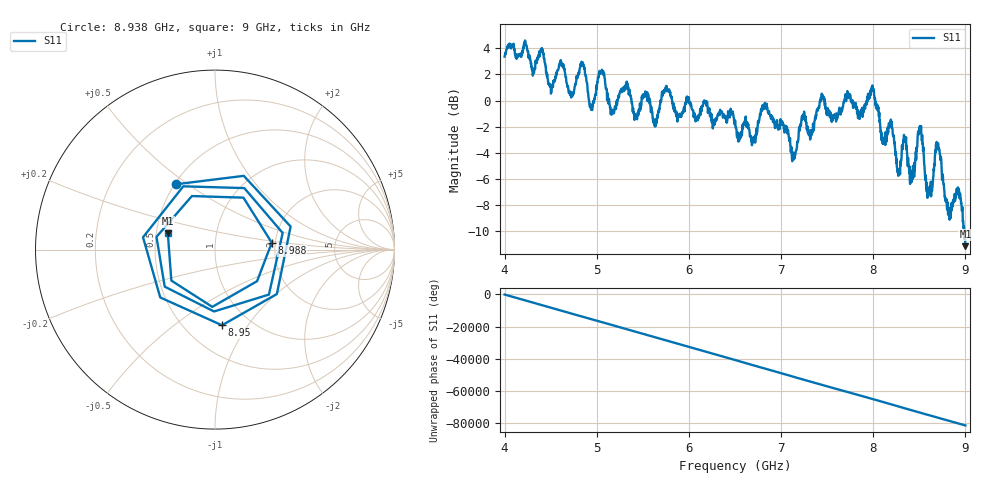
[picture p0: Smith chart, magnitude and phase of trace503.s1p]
! Created with skrf 1.8.0 (http://scikit-rf.org).
# Hz S RI R 50.0
!freq ReS11 ImS11
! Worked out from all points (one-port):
!   1601 points, 4 GHz to 9 GHz, reference 50 ohm
!   lowest |S11| = -11.1 dB at 9 GHz (marker M1), VSWR 1.77, Z = 28.8 + j5.61 ohm
!   |S11| at or under -10 dB: 8.98826 GHz to 8.993646 GHz (5.386 MHz wide, 0.0599 % of centre); 8.994443 GHz to end of sweep
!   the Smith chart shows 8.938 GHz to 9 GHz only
!   S11 on the Smith chart (normalised r, x): 8.938 GHz: 0.51, +0.45; 8.95 GHz: 0.75, -0.77; 8.988 GHz: 1.92, +0.16; 9 GHz: 0.58, +0.11
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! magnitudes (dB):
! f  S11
! 4 GHz  3.4
! 4.5 GHz  1.2
! 4.625 GHz  2.8
! 4.722 GHz  0.2
! 4.847 GHz  2.8
! 4.941 GHz  -0.6
! 5.047 GHz  2.1
! 5.162 GHz  -1.1
! 5.25 GHz  0.6
! 5.875 GHz  -1.6
! 6.5 GHz  -1.5
! 6.703 GHz  -3.1
! 6.828 GHz  -0.4
! 7.125 GHz  -4.2
! 7.444 GHz  0.4
! 7.75 GHz  0.5
! 7.991 GHz  1.2
! 8.275 GHz  -5.5
! 8.375 GHz  -5.0
! 8.425 GHz  -6.0
! 8.506 GHz  -2.0
! 8.597 GHz  -7.1
! 8.7 GHz  -3.3
! 8.816 GHz  -8.3
! 8.938 GHz  -7.5
! 8.95 GHz  -7.5
! 8.988 GHz  -9.9
! 9 GHz  -11.1
